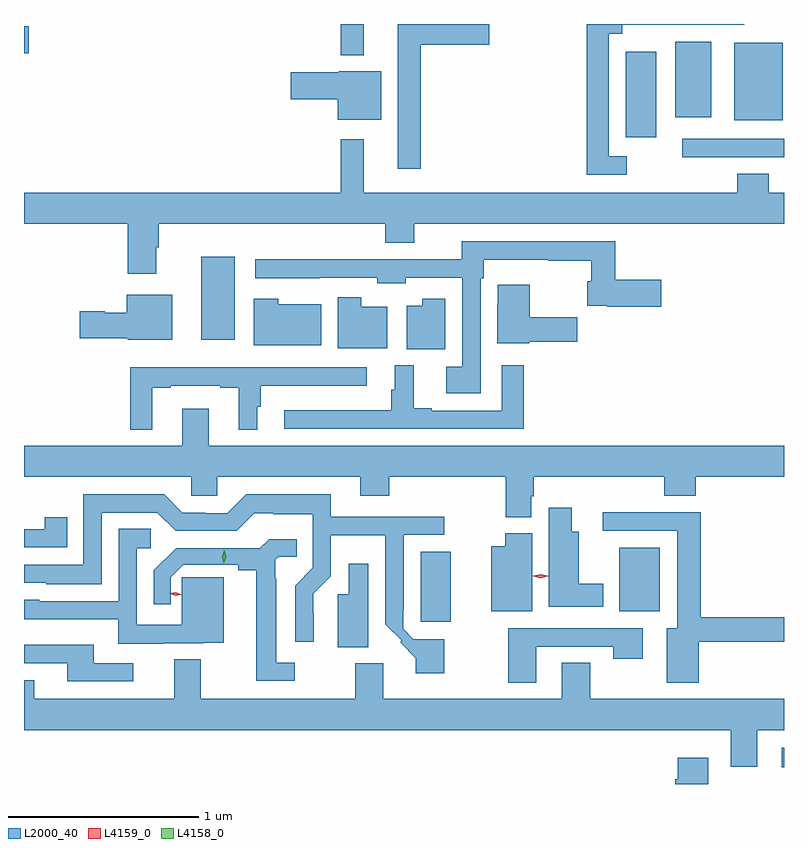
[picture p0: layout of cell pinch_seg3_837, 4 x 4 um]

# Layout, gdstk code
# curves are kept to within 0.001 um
import gdstk
lib = gdstk.Library(unit=1e-6, precision=1e-09)
def R(c, l, rs):  # rectangles x0, y0, x1, y1
    for r in rs: c.add(gdstk.rectangle(r[:2], r[2:], *l))
def P(c, l, *ps):  # polygons
    for p in ps: c.add(gdstk.Polygon(p, *l))
L2000_40 = (2000, 40)
L4158_0 = (4158, 0)
L4159_0 = (4159, 0)

pinch_seg3_837 = lib.new_cell('pinch_seg3_837')
R(pinch_seg3_837, L2000_40, [(679.407,707.381,679.42,707.482), (677.507,708.147,677.665,708.514), (678.554,708.2,678.766,708.535), (676.352,709.631,676.528,710.068), (678.885,710.592,679.42,710.688), (678.587,710.697,678.748,711.145), (679.157,710.786,679.414,711.193), (678.848,710.801,679.036,711.199), (677.088,711.128,677.209,711.292), (675.42,711.137,675.445,711.279)])
P(pinch_seg3_837, L2000_40, [(677.509,711.182),(677.869,711.182),(677.869,711.292),(677.387,711.292),(677.387,710.529),(677.509,710.529)],
  [(678.592,710.595),(678.498,710.595),(678.498,711.242),(678.568,711.242),(678.568,711.288),(679.21,711.288),(679.21,711.292),(678.382,711.292),(678.382,710.499),(678.592,710.499)],
  [(677.299,711.043),(677.076,711.043),(677.076,711.038),(676.824,711.038),(676.824,710.896),(677.072,710.896),(677.072,710.789),(677.299,710.789)],
  [(679.42,710.404),(679.34,710.404),(679.34,710.503),(679.175,710.503),(679.175,710.404),(677.209,710.404),(677.209,710.686),(677.088,710.686),(677.088,710.404),(675.42,710.404),(675.42,710.24),(675.965,710.24),(675.965,709.977),(676.117,709.977),(676.117,710.117),(676.13,710.117),(676.13,710.24),(677.321,710.24),(677.321,710.141),(677.473,710.141),(677.473,710.24),(679.42,710.24)],
  [(677.823,709.955),(677.84,709.955),(677.84,710.051),(678.178,710.051),(678.178,710.047),(678.405,710.047),(678.405,709.939),(678.384,709.939),(678.384,709.81),(678.49,709.81),(678.49,709.805),(678.775,709.805),(678.775,709.947),(678.533,709.947),(678.533,710.148),(677.725,710.148),(677.725,710.054),(676.638,710.054),(676.638,709.955),(676.976,709.955),(676.976,709.956),(677.28,709.956),(677.28,709.928),(677.43,709.928),(677.43,709.956),(677.727,709.956),(677.727,709.489),(677.643,709.489),(677.643,709.349),(677.823,709.349)],
  [(678.078,709.619),(678.331,709.619),(678.331,709.749),(678.082,709.749),(678.082,709.92),(677.913,709.92),(677.913,709.817),(677.912,709.817),(677.912,709.613),(678.078,709.613)],
  [(676.201,709.867),(675.962,709.867),(675.962,709.771),(675.846,709.771),(675.846,709.779),(675.714,709.779),(675.714,709.637),(675.966,709.637),(675.966,709.631),(676.201,709.631)],
  [(677.332,709.804),(677.194,709.804),(677.194,709.855),(677.072,709.855),(677.072,709.586),(677.332,709.586)],
  [(676.984,709.816),(676.758,709.816),(676.758,709.846),(676.628,709.846),(676.628,709.601),(676.984,709.601)],
  [(677.638,709.846),(677.516,709.846),(677.516,709.81),(677.435,709.81),(677.435,709.58),(677.638,709.58)],
  [(678.05,709.495),(677.934,709.495),(677.934,709.257),(677.566,709.257),(677.566,709.27),(677.47,709.27),(677.47,709.495),(677.372,709.495),(677.372,709.368),(677.353,709.368),(677.353,709.258),(676.791,709.258),(676.791,709.161),(678.05,709.161)],
  [(676.096,709.377),(676.192,709.377),(676.192,709.389),(676.454,709.389),(676.454,709.377),(676.55,709.377),(676.55,709.157),(676.648,709.157),(676.648,709.278),(676.667,709.278),(676.667,709.388),(677.224,709.388),(677.224,709.485),(676.524,709.485),(676.524,709.486),(675.979,709.486),(675.979,709.157),(676.096,709.157)],
  [(678.091,708.807),(678.104,708.807),(678.104,708.908),(678.791,708.908),(678.791,708.809),(678.956,708.809),(678.956,708.908),(679.42,708.908),(679.42,709.072),(676.393,709.072),(676.393,709.267),(676.253,709.267),(676.253,709.072),(675.42,709.072),(675.42,708.908),(676.299,708.908),(676.299,708.81),(676.437,708.81),(676.437,708.908),(677.189,708.908),(677.189,708.809),(677.342,708.809),(677.342,708.908),(677.956,708.908),(677.956,708.697),(678.091,708.697)],
  [(677.631,708.054),(677.469,708.054),(677.415,708.108),(677.415,708.208),(677.418,708.208),(677.418,708.603),(677.632,708.603),(677.632,708.699),(677.035,708.699),(677.035,708.817),(676.591,708.817),(676.491,708.717),(676.374,708.717),(676.374,708.72),(676.254,708.72),(676.158,708.816),(675.732,708.816),(675.732,708.447),(675.42,708.447),(675.42,708.351),(675.537,708.351),(675.537,708.344),(675.828,708.344),(675.828,708.72),(676.122,708.72),(676.218,708.624),(676.539,708.624),(676.632,708.717),(676.732,708.717),(676.732,708.713),(676.941,708.713),(676.941,708.429),(676.848,708.336),(676.848,708.042),(676.944,708.042),(676.943,708.294),(677.034,708.386),(677.034,708.602),(677.322,708.602),(677.322,708.134),(677.409,708.048),(677.399,708.038),(677.483,707.955),(677.483,707.874),(677.631,707.874)],
  [(678.469,708.346),(678.34,708.346),(678.34,708.619),(678.304,708.619),(678.304,708.745),(678.182,708.745),(678.182,708.224),(678.469,708.224)],
  [(678.97,708.042),(679.42,708.042),(679.42,708.17),(678.983,708.17),(678.983,708.722),(678.465,708.722),(678.465,708.624),(678.857,708.624),(678.857,708.112),(678.803,708.112),(678.803,707.826),(678.97,707.826)],
  [(675.647,708.697),(675.529,708.697),(675.529,708.633),(675.42,708.633),(675.42,708.537),(675.647,708.537)],
  [(676.153,708.033),(676.367,708.033),(676.367,708.035),(676.471,708.035),(676.471,708.379),(676.251,708.379),(676.251,708.129),(676.014,708.129),(676.014,708.534),(676.087,708.534),(676.087,708.635),(675.918,708.635),(675.918,708.255),(675.501,708.255),(675.501,708.261),(675.42,708.261),(675.42,708.158),(675.917,708.158),(675.917,708.029),(676.153,708.029)],
  [(678.094,708.612),(677.953,708.612),(677.953,708.544),(677.879,708.544),(677.879,708.2),(678.094,708.2)],
  [(676.846,707.931),(676.747,707.931),(676.747,708.371),(676.743,708.371),(676.743,708.471),(676.761,708.489),(676.856,708.489),(676.856,708.581),(676.71,708.581),(676.662,708.534),(676.22,708.534),(676.104,708.418),(676.104,708.237),(676.193,708.237),(676.193,708.38),(676.258,708.446),(676.547,708.446),(676.547,708.418),(676.643,708.418),(676.643,707.835),(676.846,707.835)],
  [(677.233,708.451),(677.129,708.451),(677.129,708.291),(677.072,708.291),(677.072,708.013),(677.233,708.013)],
  [(678.115,708.015),(678.52,708.015),(678.52,707.952),(678.676,707.952),(678.676,708.111),(677.968,708.111),(677.968,707.826),(678.115,707.826)],
  [(675.994,707.928),(675.787,707.928),(675.787,708.025),(675.42,708.025),(675.42,707.928),(675.647,707.928),(675.647,707.832),(675.994,707.832)],
  [(679.279,707.576),(679.42,707.576),(679.42,707.74),(678.399,707.74),(678.399,707.93),(678.251,707.93),(678.251,707.74),(677.311,707.74),(677.311,707.928),(677.164,707.928),(677.164,707.74),(676.351,707.74),(676.351,707.948),(676.211,707.948),(676.211,707.74),(675.475,707.74),(675.475,707.839),(675.42,707.839),(675.42,707.576),(679.139,707.576),(679.139,707.382),(679.279,707.382)],
  [(679.021,707.431),(678.86,707.431),(678.86,707.318),(678.848,707.318),(678.848,707.292),(679.021,707.292)])
P(pinch_seg3_837, L4158_0, [(676.472,708.454),(676.472,708.455),(676.464,708.489),(676.475,708.523),(676.475,708.523),(676.475,708.523),(676.484,708.488),(676.472,708.455)])
P(pinch_seg3_837, L4159_0, [(678.139,708.376),(678.101,708.386),(678.1,708.386),(678.101,708.387),(678.139,708.396),(678.177,708.387),(678.178,708.386),(678.177,708.386)],
  [(676.216,708.282),(676.185,708.296),(676.185,708.296),(676.185,708.296),(676.219,708.302),(676.25,708.288),(676.25,708.288),(676.25,708.288)])

lib.write_gds('pinch_seg3_837.gds')
